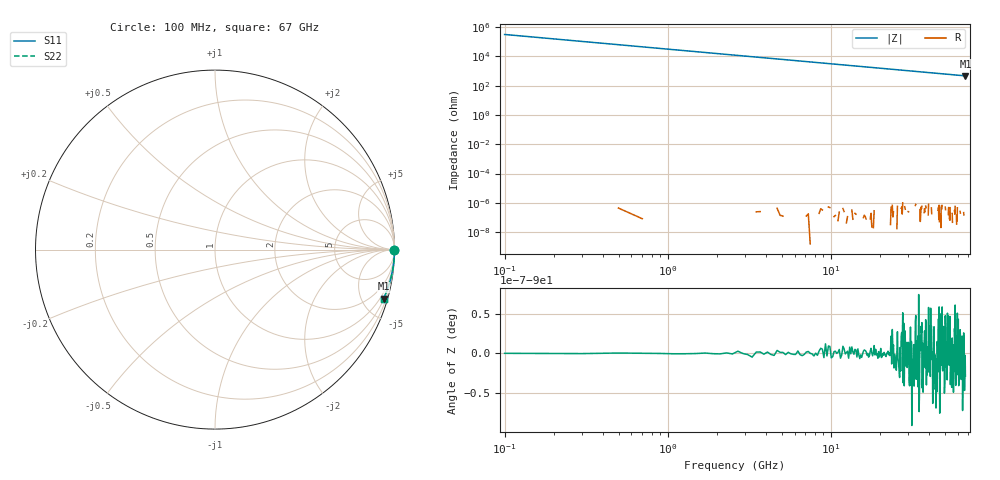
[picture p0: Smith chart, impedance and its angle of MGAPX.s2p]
! Touchstone Ver. 1.0
! Number of ports is 2
# Hz  S RI  R  50
! SCATTERING PARAMETERS  :
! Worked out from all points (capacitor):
!   336 points, 100 MHz to 67 GHz, reference 50 ohm
!   read as one part in series: C = 5.14 fF near 299.7 MHz
!   lowest |Z| = 462 ohm at 67 GHz (marker M1)
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1e8  1 -0.00043  1.39e-07 0.000323  1.39e-07 0.000323  1 -0.00043
2.997015e8  1 -0.00129  1.25e-06 0.000969  1.25e-06 0.000969  1 -0.00129
4.99403e8  1 -0.00215  3.47e-06 0.00161  3.47e-06 0.00161  1 -0.00215
6.991045e8  1 -0.00301  6.8e-06 0.00226  6.8e-06 0.00226  1 -0.00301
8.98806e8  1 -0.00387  1.12e-05 0.0029  1.12e-05 0.0029  1 -0.00387
1.098507e9  1 -0.00473  1.68e-05 0.00355  1.68e-05 0.00355  1 -0.00473
1.298209e9  1 -0.00559  2.34e-05 0.0042  2.34e-05 0.0042  1 -0.00559
1.697612e9  1 -0.0073  4.01e-05 0.00549  4.01e-05 0.00549  1 -0.0073
2.296716e9  0.9999 -0.00988  7.33e-05 0.00742  7.33e-05 0.00742  0.9999 -0.00988
2.895821e9  0.9999 -0.0125  0.000117 0.00936  0.000117 0.00936  0.9999 -0.0125
3.694627e9  0.9998 -0.0159  0.00019 0.0119  0.00019 0.0119  0.9998 -0.0159
4.693134e9  0.9997 -0.0202  0.000306 0.0152  0.000306 0.0152  0.9997 -0.0202
5.691642e9  0.9995 -0.0245  0.00045 0.0184  0.00045 0.0184  0.9995 -0.0245
8.08806e9  0.9991 -0.0348  0.000909 0.0261  0.000909 0.0261  0.9991 -0.0348
1.128328e10  0.9982 -0.0485  0.00177 0.0364  0.00177 0.0364  0.9982 -0.0485
1.627582e10  0.9962 -0.0698  0.00367 0.0524  0.00367 0.0524  0.9962 -0.0698
2.246657e10  0.9927 -0.0961  0.00697 0.072  0.00697 0.072  0.9927 -0.0961
2.765881e10  0.989 -0.1179  0.0105 0.0883  0.0105 0.0883  0.989 -0.1179
3.364985e10  0.9839 -0.1428  0.0155 0.1068  0.0155 0.1068  0.9839 -0.1428
4.483313e10  0.9717 -0.1882  0.0272 0.1402  0.0272 0.1402  0.9717 -0.1882
5.601642e10  0.9565 -0.232  0.0417 0.1721  0.0417 0.1721  0.9565 -0.232
6.7e10  0.9388 -0.2731  0.0586 0.2015  0.0586 0.2015  0.9388 -0.2731
